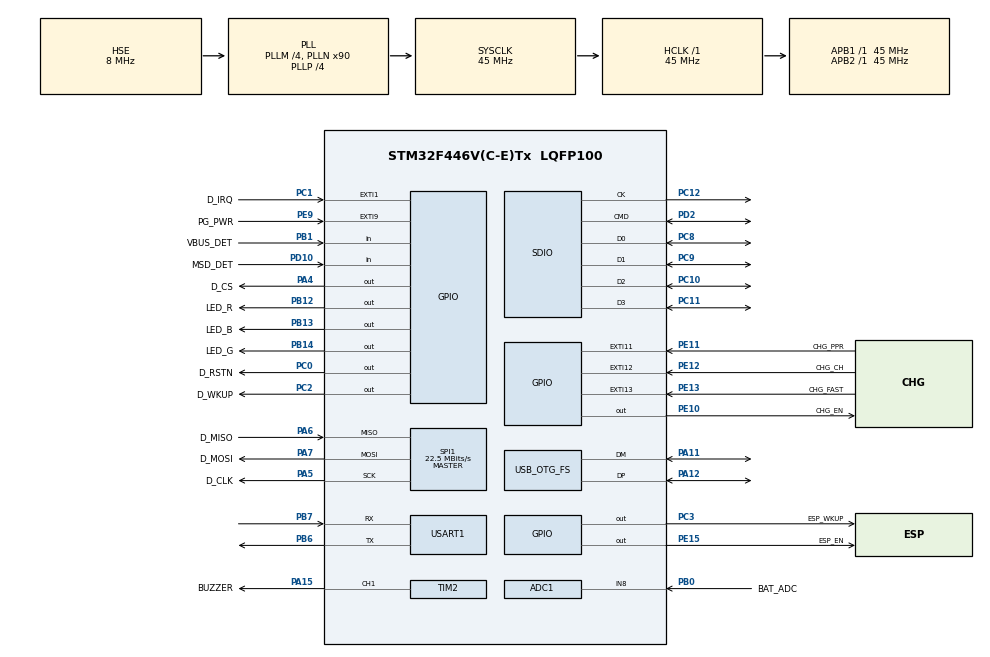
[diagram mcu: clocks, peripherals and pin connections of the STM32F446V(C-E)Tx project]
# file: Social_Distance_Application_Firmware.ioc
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ADC1.Channel-0\#ChannelRegularConversion=ADC_CHANNEL_8
ADC1.NbrOfConversionFlag=1
ADC1.Rank-0\#ChannelRegularConversion=1
ADC1.SamplingTime-0\#ChannelRegularConversion=ADC_SAMPLETIME_144CYCLES
ADC1.master=1
Dma.Request0=SDIO_RX
Dma.Request1=SDIO_TX
Dma.Request2=USART1_RX
Dma.SDIO_RX.0.Direction=DMA_PERIPH_TO_MEMORY
Dma.SDIO_RX.0.FIFOMode=DMA_FIFOMODE_ENABLE
Dma.SDIO_RX.0.FIFOThreshold=DMA_FIFO_THRESHOLD_FULL
Dma.SDIO_RX.0.Instance=DMA2_Stream3
Dma.SDIO_RX.0.MemBurst=DMA_MBURST_INC4
Dma.SDIO_RX.0.MemDataAlignment=DMA_MDATAALIGN_WORD
Dma.SDIO_RX.0.MemInc=DMA_MINC_ENABLE
Dma.SDIO_RX.0.Mode=DMA_PFCTRL
Dma.SDIO_RX.0.PeriphBurst=DMA_PBURST_INC4
Dma.SDIO_RX.0.PeriphDataAlignment=DMA_PDATAALIGN_WORD
Dma.SDIO_RX.0.PeriphInc=DMA_PINC_DISABLE
Dma.SDIO_RX.0.Priority=DMA_PRIORITY_LOW
Dma.SDIO_TX.1.Direction=DMA_MEMORY_TO_PERIPH
Dma.SDIO_TX.1.FIFOMode=DMA_FIFOMODE_ENABLE
Dma.SDIO_TX.1.FIFOThreshold=DMA_FIFO_THRESHOLD_FULL
Dma.SDIO_TX.1.Instance=DMA2_Stream6
Dma.SDIO_TX.1.MemBurst=DMA_MBURST_INC4
Dma.SDIO_TX.1.MemDataAlignment=DMA_MDATAALIGN_WORD
Dma.SDIO_TX.1.MemInc=DMA_MINC_ENABLE
Dma.SDIO_TX.1.Mode=DMA_PFCTRL
Dma.SDIO_TX.1.PeriphBurst=DMA_PBURST_INC4
Dma.SDIO_TX.1.PeriphDataAlignment=DMA_PDATAALIGN_WORD
Dma.SDIO_TX.1.PeriphInc=DMA_PINC_DISABLE
Dma.SDIO_TX.1.Priority=DMA_PRIORITY_LOW
Dma.USART1_RX.2.Direction=DMA_PERIPH_TO_MEMORY
Dma.USART1_RX.2.FIFOMode=DMA_FIFOMODE_DISABLE
Dma.USART1_RX.2.Instance=DMA2_Stream2
Dma.USART1_RX.2.MemDataAlignment=DMA_MDATAALIGN_BYTE
Dma.USART1_RX.2.MemInc=DMA_MINC_ENABLE
Dma.USART1_RX.2.Mode=DMA_CIRCULAR
Dma.USART1_RX.2.PeriphDataAlignment=DMA_PDATAALIGN_BYTE
Dma.USART1_RX.2.PeriphInc=DMA_PINC_DISABLE
Dma.USART1_RX.2.Priority=DMA_PRIORITY_LOW
FATFS.BSP.number=1
FATFS._FS_LOCK=6
FATFS._USE_CHMOD=1
FATFS0.BSP.STBoard=false
FATFS0.BSP.api=Unknown
FATFS0.BSP.i2caddr=0
FATFS0.BSP.instance=PD10
FATFS0.BSP.ip=GPIO
FATFS0.BSP.mode=Input
FATFS0.BSP.name=Detect_SDIO
FATFS0.BSP.solution=PD10
FREERTOS.INCLUDE_xEventGroupSetBitFromISR=1
FREERTOS.Tasks01=mainTask,32,640,MainTaskFunc,As weak,NULL,Dynamic,NULL,NULL
FREERTOS.configTIMER_TASK_PRIORITY=40
FREERTOS.configTOTAL_HEAP_SIZE=20480
Mcu.Family=STM32F4
Mcu.Name=STM32F446V(C-E)Tx
Mcu.Package=LQFP100
NVIC.DMA2_Stream2_IRQn=true\:5\:0\:false\:false\:true\:true\:false\:true
NVIC.DMA2_Stream3_IRQn=true\:5\:0\:false\:false\:true\:true\:false\:true
NVIC.DMA2_Stream6_IRQn=true\:5\:0\:false\:false\:true\:true\:false\:true
NVIC.EXTI15_10_IRQn=true\:5\:0\:false\:false\:true\:true\:true\:true
NVIC.EXTI1_IRQn=true\:5\:0\:false\:false\:true\:true\:true\:true
NVIC.EXTI9_5_IRQn=true\:5\:0\:false\:false\:true\:true\:true\:true
NVIC.OTG_FS_IRQn=true\:5\:0\:false\:false\:true\:true\:false\:true
NVIC.PVD_IRQn=true\:5\:0\:false\:false\:true\:true\:true\:true
NVIC.PriorityGroup=NVIC_PRIORITYGROUP_4
NVIC.SDIO_IRQn=true\:5\:0\:false\:false\:true\:true\:true\:true
NVIC.TIM7_IRQn=true\:0\:0\:false\:false\:true\:false\:false\:true
NVIC.TIM8_TRG_COM_TIM14_IRQn=true\:6\:0\:true\:false\:true\:true\:true\:true
NVIC.TimeBase=TIM7_IRQn
NVIC.TimeBaseIP=TIM7
NVIC.USART1_IRQn=true\:5\:0\:false\:false\:true\:true\:true\:true
PA0-WKUP.Mode=SYS_WakeUp0
PA0-WKUP.Signal=SYS_WKUP0
PA11.GPIO_Mode=GPIO_MODE_AF_PP
PA11.GPIO_PuPd=GPIO_NOPULL
PA11.GPIO_Speed=GPIO_SPEED_FREQ_MEDIUM
PA11.Mode=Device_Only
PA11.Signal=USB_OTG_FS_DM
PA12.GPIO_Mode=GPIO_MODE_AF_PP
PA12.GPIO_PuPd=GPIO_NOPULL
PA12.GPIO_Speed=GPIO_SPEED_FREQ_MEDIUM
PA12.Mode=Device_Only
PA12.Signal=USB_OTG_FS_DP
PA15.GPIO_Label=BUZZER
PA15.Signal=S_TIM2_CH1_ETR
PA4.GPIO_Label=D_CS
PA4.Signal=GPIO_Output
PA5.GPIO_Label=D_CLK
PA5.GPIO_Speed=GPIO_SPEED_FREQ_MEDIUM
PA5.Mode=Full_Duplex_Master
PA5.Signal=SPI1_SCK
PA6.GPIO_Label=D_MISO
PA6.GPIO_Speed=GPIO_SPEED_FREQ_MEDIUM
PA6.Mode=Full_Duplex_Master
PA6.Signal=SPI1_MISO
PA7.GPIO_Label=D_MOSI
PA7.GPIO_Speed=GPIO_SPEED_FREQ_MEDIUM
PA7.Mode=Full_Duplex_Master
PA7.Signal=SPI1_MOSI
PB0.GPIO_Label=BAT_ADC
PB0.Signal=ADCx_IN8
PB1.GPIO_Label=VBUS_DET
PB1.Signal=GPIO_Input
PB12.GPIO_Label=LED_R
PB12.PinState=GPIO_PIN_SET
PB12.Signal=GPIO_Output
PB13.GPIO_Label=LED_B
PB13.PinState=GPIO_PIN_SET
PB13.Signal=GPIO_Output
PB14.GPIO_Label=LED_G
PB14.PinState=GPIO_PIN_SET
PB14.Signal=GPIO_Output
PB6.GPIO_Speed=GPIO_SPEED_FREQ_MEDIUM
PB6.Mode=Asynchronous
PB6.Signal=USART1_TX
PB7.GPIO_Speed=GPIO_SPEED_FREQ_MEDIUM
PB7.Mode=Asynchronous
PB7.Signal=USART1_RX
PC0.GPIO_Label=D_RSTN
PC0.GPIO_Speed=GPIO_SPEED_FREQ_LOW
PC0.PinState=GPIO_PIN_SET
PC0.Signal=GPIO_Output
PC1.GPIO_Label=D_IRQ
PC1.GPIO_ModeDefaultEXTI=GPIO_MODE_IT_RISING
PC1.GPIO_PuPd=GPIO_PULLDOWN
PC1.Signal=GPXTI1
PC10.GPIO_Speed_High_Default=GPIO_SPEED_FREQ_MEDIUM
PC10.Mode=SD_4_bits_Wide_bus
PC10.Signal=SDIO_D2
PC11.GPIO_Speed_High_Default=GPIO_SPEED_FREQ_MEDIUM
PC11.Mode=SD_4_bits_Wide_bus
PC11.Signal=SDIO_D3
PC12.GPIO_Speed_High_Default=GPIO_SPEED_FREQ_MEDIUM
PC12.Mode=SD_4_bits_Wide_bus
PC12.Signal=SDIO_CK
PC14-OSC32_IN.Mode=LSE-External-Oscillator
PC14-OSC32_IN.Signal=RCC_OSC32_IN
PC15-OSC32_OUT.Mode=LSE-External-Oscillator
PC15-OSC32_OUT.Signal=RCC_OSC32_OUT
PC2.GPIO_Label=D_WKUP
PC2.Signal=GPIO_Output
PC3.GPIO_Label=ESP_WKUP
PC3.Signal=GPIO_Output
PC8.GPIO_Speed_High_Default=GPIO_SPEED_FREQ_MEDIUM
PC8.Mode=SD_4_bits_Wide_bus
PC8.Signal=SDIO_D0
PC9.GPIO_Speed_High_Default=GPIO_SPEED_FREQ_MEDIUM
PC9.Mode=SD_4_bits_Wide_bus
PC9.Signal=SDIO_D1
PD10.GPIO_Label=MSD_DET
PD10.Signal=GPIO_Input
PD2.GPIO_Speed_High_Default=GPIO_SPEED_FREQ_MEDIUM
PD2.Mode=SD_4_bits_Wide_bus
PD2.Signal=SDIO_CMD
PE10.GPIO_Label=CHG_EN
PE10.Signal=GPIO_Output
PE11.GPIO_Label=CHG_PPR
PE11.GPIO_ModeDefaultEXTI=GPIO_MODE_IT_FALLING
PE11.Signal=GPXTI11
PE12.GPIO_Label=CHG_CH
PE12.GPIO_ModeDefaultEXTI=GPIO_MODE_IT_RISING_FALLING
PE12.Signal=GPXTI12
PE13.GPIO_Label=CHG_FAST
PE13.GPIO_ModeDefaultEXTI=GPIO_MODE_IT_FALLING
PE13.Signal=GPXTI13
PE15.GPIO_Label=ESP_EN
PE15.PinState=GPIO_PIN_RESET
PE15.Signal=GPIO_Output
PE9.GPIO_Label=PG_PWR
PE9.GPIO_ModeDefaultEXTI=GPIO_MODE_IT_FALLING
PE9.Signal=GPXTI9
PH0-OSC_IN.Mode=HSE-External-Oscillator
PH0-OSC_IN.Signal=RCC_OSC_IN
PH1-OSC_OUT.Mode=HSE-External-Oscillator
PH1-OSC_OUT.Signal=RCC_OSC_OUT
ProjectManager.HeapSize=0x1000
ProjectManager.StackSize=0x1000
ProjectManager.TargetToolchain=STM32CubeIDE
RCC.AHBFreq_Value=45000000
RCC.APB1Freq_Value=45000000
RCC.APB1TimFreq_Value=45000000
RCC.APB2Freq_Value=45000000
RCC.APB2TimFreq_Value=45000000
RCC.CortexFreq_Value=45000000
RCC.HCLKFreq_Value=45000000
RCC.HSE_VALUE=8000000
RCC.PLLM=4
RCC.PLLN=90
RCC.PLLP=RCC_PLLP_DIV4
RCC.PLLQ=3
RCC.PLLSAIM=4
RCC.PLLSAIN=96
RCC.PLLSAIP=RCC_PLLSAIP_DIV4
RCC.PLLSourceVirtual=RCC_PLLSOURCE_HSE
RCC.RCC_RTC_Clock_SourceVirtual=RCC_RTCCLKSOURCE_LSE
RCC.SDIOCLockSelection=RCC_SDIOCLKSOURCE_SYSCLK
RCC.SYSCLKFreq_VALUE=45000000
RCC.SYSCLKSource=RCC_SYSCLKSOURCE_PLLCLK
RCC.USBCLockSelection=RCC_CLK48CLKSOURCE_PLLSAIP
RCC.USBFreq_Value=48000000
RCC.VCOOutputFreq_Value=180000000
RTC.Date=16
RTC.Hours=10
RTC.Month=RTC_MONTH_APRIL
RTC.WeekDay=RTC_WEEKDAY_FRIDAY
RTC.Year=21
SH.ADCx_IN8.0=ADC1_IN8,IN8
SH.S_TIM2_CH1_ETR.0=TIM2_CH1,PWM Generation1 CH1
SPI1.CalculateBaudRate=22.5 MBits/s
SPI1.Direction=SPI_DIRECTION_2LINES
SPI1.Mode=SPI_MODE_MASTER
SPI1.VirtualType=VM_MASTER
TIM14.AutoReloadPreload=TIM_AUTORELOAD_PRELOAD_ENABLE
TIM14.Period=100 - 1
TIM14.Prescaler=45000 - 1
TIM2.Channel-PWM\ Generation1\ CH1=TIM_CHANNEL_1
TIM2.Period=5625 - 1
TIM2.Prescaler=8
TIM2.Pulse-PWM\ Generation1\ CH1=2812 - 1
USART1.VirtualMode=VM_ASYNC
USB_DEVICE.CLASS_NAME_FS=CDC
USB_DEVICE.VirtualMode-CDC_FS=Cdc
USB_DEVICE.VirtualMode-DFU_FS=Dfu
USB_DEVICE.VirtualModeFS=Cdc_FS
USB_OTG_FS.VirtualMode=Device_Only
USB_OTG_FS.low_power_enable=DISABLE
VP_FATFS_VS_SDIO.Mode=SDIO
VP_FREERTOS_VS_CMSIS_V2.Mode=CMSIS_V2
VP_RTC_VS_RTC_Activate.Mode=RTC_Enabled
VP_RTC_VS_RTC_Calendar.Mode=RTC_Calendar
VP_SYS_VS_tim7.Mode=TIM7
VP_TIM14_VS_ClockSourceINT.Mode=Enable_Timer
VP_USB_DEVICE_VS_USB_DEVICE_CDC_FS.Mode=CDC_FS
board=custom

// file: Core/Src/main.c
/* USER CODE BEGIN Header */
/**
  ******************************************************************************
  * @file           : main.c
  * @brief          : Main program body
  ******************************************************************************
  * @attention
  *
  * <h2><center>&copy; Copyright (c) 2021 STMicroelectronics.
  * All rights reserved.</center></h2>
  *
  * This software component is licensed by ST under BSD 3-Clause license,
  * the "License"; You may not use this file except in compliance with the
  * License. You may obtain a copy of the License at:
  *                        opensource.org/licenses/BSD-3-Clause
  *
  ******************************************************************************
  */
/* USER CODE END Header */
#include "main.h"
#include "cmsis_os.h"
#include "fatfs.h"
#include "usb_device.h"

/* USER CODE BEGIN Includes */
#include "SEGGER_SYSVIEW.h"
#include "common.h"
#include "distance_task.h"
/* USER CODE END Includes */

ADC_HandleTypeDef hadc1;

RTC_HandleTypeDef hrtc;

SD_HandleTypeDef hsd;
DMA_HandleTypeDef hdma_sdio_rx;
DMA_HandleTypeDef hdma_sdio_tx;

SPI_HandleTypeDef hspi1;

TIM_HandleTypeDef htim2;
TIM_HandleTypeDef htim14;

UART_HandleTypeDef huart1;
DMA_HandleTypeDef hdma_usart1_rx;

/* Definitions for mainTask */
osThreadId_t mainTaskHandle;
const osThreadAttr_t mainTask_attributes = {
  .name = "mainTask",
  .stack_size = 640 * 4,
  .priority = (osPriority_t) osPriorityAboveNormal,
};

void SystemClock_Config(void);
static void MX_GPIO_Init(void);
static void MX_DMA_Init(void);
static void MX_RTC_Init(void);
static void MX_SDIO_SD_Init(void);
static void MX_TIM2_Init(void);
static void MX_SPI1_Init(void);
static void MX_USART1_UART_Init(void);
static void MX_ADC1_Init(void);
static void MX_TIM14_Init(void);
void MainTaskFunc(void *argument);

int main(void)
{

  /* MCU Configuration--------------------------------------------------------*/

  /* Reset of all peripherals, Initializes the Flash interface and the Systick. */
  HAL_Init();

  /* Configure the system clock */
  SystemClock_Config();

  /* USER CODE BEGIN SysInit */
  // configure and initialize SystemView
  SEGGER_SYSVIEW_Conf();
  /* USER CODE END SysInit */

  /* Initialize all configured peripherals */
  PVD_Config();
  MX_GPIO_Init();
  MX_DMA_Init();
  MX_RTC_Init();
  MX_SDIO_SD_Init();
  MX_FATFS_Init();
  MX_TIM2_Init();
  MX_SPI1_Init();
  MX_USART1_UART_Init();
  MX_ADC1_Init();
  MX_TIM14_Init();
  /* USER CODE BEGIN 2 */

  // disable ESP32 module first when MCU is initializing
  HAL_GPIO_WritePin(ESP_EN_GPIO_Port, ESP_EN_Pin, GPIO_PIN_SET);

  // to prevent abnormal behavior when under low voltage
  while(1)
  {
    StartBatteryVoltAdcConversion();
    if (GetBatteryLevelInVolt() >= BATTERY_LOW_VOLT)
    {
      break;
    }
    else
    {
    	HAL_GPIO_WritePin(GPIOB, GPIO_PIN_12, 0);
    	HAL_Delay(10000);
    	HAL_NVIC_SystemReset();

    }

    HAL_Delay(500);
  }
  /* USER CODE END 2 */

  /* Init scheduler */
  osKernelInitialize();

  /* Create the thread(s) */
  /* creation of mainTask */
  mainTaskHandle = osThreadNew(MainTaskFunc, NULL, &mainTask_attributes);

  /* Start scheduler */
  osKernelStart();

  /* We should never get here as control is now taken by the scheduler */
  /* Infinite loop */
  while (1)
  {

  }
}

void PVD_Config()
{
	__HAL_RCC_PWR_CLK_ENABLE();

	HAL_NVIC_SetPriority(PVD_IRQn, 0, 0);
	HAL_NVIC_EnableIRQ(PVD_IRQn);

	PWR_PVDTypeDef sConfigPVD;
	sConfigPVD.PVDLevel  = PWR_PVDLEVEL_7;
	sConfigPVD.Mode = PWR_PVD_MODE_NORMAL;
	HAL_PWR_ConfigPVD(&sConfigPVD);

	HAL_PWR_EnablePVD();
}

void SystemClock_Config(void)
{
  RCC_OscInitTypeDef RCC_OscInitStruct = {0};
  RCC_ClkInitTypeDef RCC_ClkInitStruct = {0};
  RCC_PeriphCLKInitTypeDef PeriphClkInitStruct = {0};

  /** Configure the main internal regulator output voltage
  */
  __HAL_RCC_PWR_CLK_ENABLE();
  __HAL_PWR_VOLTAGESCALING_CONFIG(PWR_REGULATOR_VOLTAGE_SCALE3);
  /** Initializes the RCC Oscillators according to the specified parameters
  * in the RCC_OscInitTypeDef structure.
  */
  RCC_OscInitStruct.OscillatorType = RCC_OSCILLATORTYPE_HSE|RCC_OSCILLATORTYPE_LSE;
  RCC_OscInitStruct.HSEState = RCC_HSE_ON;
  RCC_OscInitStruct.LSEState = RCC_LSE_ON;
  RCC_OscInitStruct.PLL.PLLState = RCC_PLL_ON;
  RCC_OscInitStruct.PLL.PLLSource = RCC_PLLSOURCE_HSE;
  RCC_OscInitStruct.PLL.PLLM = 4;
  RCC_OscInitStruct.PLL.PLLN = 90;
  RCC_OscInitStruct.PLL.PLLP = RCC_PLLP_DIV4;
  RCC_OscInitStruct.PLL.PLLQ = 3;
  RCC_OscInitStruct.PLL.PLLR = 2;
  if (HAL_RCC_OscConfig(&RCC_OscInitStruct) != HAL_OK)
  {
    Error_Handler();
  }
  /** Initializes the CPU, AHB and APB buses clocks
  */
  RCC_ClkInitStruct.ClockType = RCC_CLOCKTYPE_HCLK|RCC_CLOCKTYPE_SYSCLK
                              |RCC_CLOCKTYPE_PCLK1|RCC_CLOCKTYPE_PCLK2;
  RCC_ClkInitStruct.SYSCLKSource = RCC_SYSCLKSOURCE_PLLCLK;
  RCC_ClkInitStruct.AHBCLKDivider = RCC_SYSCLK_DIV1;
  RCC_ClkInitStruct.APB1CLKDivider = RCC_HCLK_DIV1;
  RCC_ClkInitStruct.APB2CLKDivider = RCC_HCLK_DIV1;

  if (HAL_RCC_ClockConfig(&RCC_ClkInitStruct, FLASH_LATENCY_1) != HAL_OK)
  {
    Error_Handler();
  }
  PeriphClkInitStruct.PeriphClockSelection = RCC_PERIPHCLK_RTC|RCC_PERIPHCLK_SDIO
                              |RCC_PERIPHCLK_CLK48;
  PeriphClkInitStruct.PLLSAI.PLLSAIM = 4;
  PeriphClkInitStruct.PLLSAI.PLLSAIN = 96;
  PeriphClkInitStruct.PLLSAI.PLLSAIQ = 2;
  PeriphClkInitStruct.PLLSAI.PLLSAIP = RCC_PLLSAIP_DIV4;
  PeriphClkInitStruct.PLLSAIDivQ = 1;
  PeriphClkInitStruct.RTCClockSelection = RCC_RTCCLKSOURCE_LSE;
  PeriphClkInitStruct.Clk48ClockSelection = RCC_CLK48CLKSOURCE_PLLSAIP;
  PeriphClkInitStruct.SdioClockSelection = RCC_SDIOCLKSOURCE_SYSCLK;
  if (HAL_RCCEx_PeriphCLKConfig(&PeriphClkInitStruct) != HAL_OK)
  {
    Error_Handler();
  }
}

static void MX_ADC1_Init(void)
{

  ADC_ChannelConfTypeDef sConfig = {0};

  /** Configure the global features of the ADC (Clock, Resolution, Data Alignment and number of conversion)
  */
  hadc1.Instance = ADC1;
  hadc1.Init.ClockPrescaler = ADC_CLOCK_SYNC_PCLK_DIV2;
  hadc1.Init.Resolution = ADC_RESOLUTION_12B;
  hadc1.Init.ScanConvMode = DISABLE;
  hadc1.Init.ContinuousConvMode = DISABLE;
  hadc1.Init.DiscontinuousConvMode = DISABLE;
  hadc1.Init.ExternalTrigConvEdge = ADC_EXTERNALTRIGCONVEDGE_NONE;
  hadc1.Init.ExternalTrigConv = ADC_SOFTWARE_START;
  hadc1.Init.DataAlign = ADC_DATAALIGN_RIGHT;
  hadc1.Init.NbrOfConversion = 1;
  hadc1.Init.DMAContinuousRequests = DISABLE;
  hadc1.Init.EOCSelection = ADC_EOC_SINGLE_CONV;
  if (HAL_ADC_Init(&hadc1) != HAL_OK)
  {
    Error_Handler();
  }
  /** Configure for the selected ADC regular channel its corresponding rank in the sequencer and its sample time.
  */
  sConfig.Channel = ADC_CHANNEL_8;
  sConfig.Rank = 1;
  sConfig.SamplingTime = ADC_SAMPLETIME_144CYCLES;
  if (HAL_ADC_ConfigChannel(&hadc1, &sConfig) != HAL_OK)
  {
    Error_Handler();
  }

}

static void MX_RTC_Init(void)
{

  RTC_TimeTypeDef sTime = {0};
  RTC_DateTypeDef sDate = {0};

  /** Initialize RTC Only
  */
  hrtc.Instance = RTC;
  hrtc.Init.HourFormat = RTC_HOURFORMAT_24;
  hrtc.Init.AsynchPrediv = 127;
  hrtc.Init.SynchPrediv = 255;
  hrtc.Init.OutPut = RTC_OUTPUT_DISABLE;
  hrtc.Init.OutPutPolarity = RTC_OUTPUT_POLARITY_HIGH;
  hrtc.Init.OutPutType = RTC_OUTPUT_TYPE_OPENDRAIN;
  if (HAL_RTC_Init(&hrtc) != HAL_OK)
  {
    Error_Handler();
  }

  /* USER CODE BEGIN Check_RTC_BKUP */

  // check whether time initialize before not
  if(HAL_RTCEx_BKUPRead(&hrtc, RTC_BKP_DR1) == 0x32F2)
    return;

  /* USER CODE END Check_RTC_BKUP */

  /** Initialize RTC and set the Time and Date
  */
  sTime.Hours = 0x10;
  sTime.Minutes = 0x0;
  sTime.Seconds = 0x0;
  sTime.DayLightSaving = RTC_DAYLIGHTSAVING_NONE;
  sTime.StoreOperation = RTC_STOREOPERATION_RESET;
  if (HAL_RTC_SetTime(&hrtc, &sTime, RTC_FORMAT_BCD) != HAL_OK)
  {
    Error_Handler();
  }
  sDate.WeekDay = RTC_WEEKDAY_FRIDAY;
  sDate.Month = RTC_MONTH_APRIL;
  sDate.Date = 0x16;
  sDate.Year = 0x21;

  if (HAL_RTC_SetDate(&hrtc, &sDate, RTC_FORMAT_BCD) != HAL_OK)
  {
    Error_Handler();
  }
  /* USER CODE BEGIN RTC_Init 2 */

  // store the key after time & Date initialized
  HAL_RTCEx_BKUPWrite(&hrtc,RTC_BKP_DR1,0x32F2);

  /* USER CODE END RTC_Init 2 */

}

static void MX_SDIO_SD_Init(void)
{

  hsd.Instance = SDIO;
  hsd.Init.ClockEdge = SDIO_CLOCK_EDGE_RISING;
  hsd.Init.ClockBypass = SDIO_CLOCK_BYPASS_DISABLE;
  hsd.Init.ClockPowerSave = SDIO_CLOCK_POWER_SAVE_DISABLE;
  hsd.Init.BusWide = SDIO_BUS_WIDE_1B;
  hsd.Init.HardwareFlowControl = SDIO_HARDWARE_FLOW_CONTROL_DISABLE;
  hsd.Init.ClockDiv = 0;

}

static void MX_SPI1_Init(void)
{

  /* SPI1 parameter configuration*/
  hspi1.Instance = SPI1;
  hspi1.Init.Mode = SPI_MODE_MASTER;
  hspi1.Init.Direction = SPI_DIRECTION_2LINES;
  hspi1.Init.DataSize = SPI_DATASIZE_8BIT;
  hspi1.Init.CLKPolarity = SPI_POLARITY_LOW;
  hspi1.Init.CLKPhase = SPI_PHASE_1EDGE;
  hspi1.Init.NSS = SPI_NSS_SOFT;
  hspi1.Init.BaudRatePrescaler = SPI_BAUDRATEPRESCALER_2;
  hspi1.Init.FirstBit = SPI_FIRSTBIT_MSB;
  hspi1.Init.TIMode = SPI_TIMODE_DISABLE;
  hspi1.Init.CRCCalculation = SPI_CRCCALCULATION_DISABLE;
  hspi1.Init.CRCPolynomial = 10;
  if (HAL_SPI_Init(&hspi1) != HAL_OK)
  {
    Error_Handler();
  }

}

static void MX_TIM2_Init(void)
{

  TIM_MasterConfigTypeDef sMasterConfig = {0};
  TIM_OC_InitTypeDef sConfigOC = {0};

  htim2.Instance = TIM2;
  htim2.Init.Prescaler = 8;
  htim2.Init.CounterMode = TIM_COUNTERMODE_UP;
  htim2.Init.Period = 5625 - 1;
  htim2.Init.ClockDivision = TIM_CLOCKDIVISION_DIV1;
  htim2.Init.AutoReloadPreload = TIM_AUTORELOAD_PRELOAD_DISABLE;
  if (HAL_TIM_PWM_Init(&htim2) != HAL_OK)
  {
    Error_Handler();
  }
  sMasterConfig.MasterOutputTrigger = TIM_TRGO_RESET;
  sMasterConfig.MasterSlaveMode = TIM_MASTERSLAVEMODE_DISABLE;
  if (HAL_TIMEx_MasterConfigSynchronization(&htim2, &sMasterConfig) != HAL_OK)
  {
    Error_Handler();
  }
  sConfigOC.OCMode = TIM_OCMODE_PWM1;
  sConfigOC.Pulse = 2812 - 1;
  sConfigOC.OCPolarity = TIM_OCPOLARITY_HIGH;
  sConfigOC.OCFastMode = TIM_OCFAST_DISABLE;
  if (HAL_TIM_PWM_ConfigChannel(&htim2, &sConfigOC, TIM_CHANNEL_1) != HAL_OK)
  {
    Error_Handler();
  }
  HAL_TIM_MspPostInit(&htim2);

}

static void MX_TIM14_Init(void)
{

  htim14.Instance = TIM14;
  htim14.Init.Prescaler = 45000 - 1;
  htim14.Init.CounterMode = TIM_COUNTERMODE_UP;
  htim14.Init.Period = 100 - 1;
  htim14.Init.ClockDivision = TIM_CLOCKDIVISION_DIV1;
  htim14.Init.AutoReloadPreload = TIM_AUTORELOAD_PRELOAD_ENABLE;
  if (HAL_TIM_Base_Init(&htim14) != HAL_OK)
  {
    Error_Handler();
  }

}

static void MX_USART1_UART_Init(void)
{

  huart1.Instance = USART1;
  huart1.Init.BaudRate = 115200;
  huart1.Init.WordLength = UART_WORDLENGTH_8B;
  huart1.Init.StopBits = UART_STOPBITS_1;
  huart1.Init.Parity = UART_PARITY_NONE;
  huart1.Init.Mode = UART_MODE_TX_RX;
  huart1.Init.HwFlowCtl = UART_HWCONTROL_NONE;
  huart1.Init.OverSampling = UART_OVERSAMPLING_16;
  if (HAL_UART_Init(&huart1) != HAL_OK)
  {
    Error_Handler();
  }

}

static void MX_DMA_Init(void)
{

  /* DMA controller clock enable */
  __HAL_RCC_DMA2_CLK_ENABLE();

  /* DMA interrupt init */
  /* DMA2_Stream2_IRQn interrupt configuration */
  HAL_NVIC_SetPriority(DMA2_Stream2_IRQn, 5, 0);
  HAL_NVIC_EnableIRQ(DMA2_Stream2_IRQn);
  /* DMA2_Stream3_IRQn interrupt configuration */
  HAL_NVIC_SetPriority(DMA2_Stream3_IRQn, 5, 0);
  HAL_NVIC_EnableIRQ(DMA2_Stream3_IRQn);
  /* DMA2_Stream6_IRQn interrupt configuration */
  HAL_NVIC_SetPriority(DMA2_Stream6_IRQn, 5, 0);
  HAL_NVIC_EnableIRQ(DMA2_Stream6_IRQn);

}

static void MX_GPIO_Init(void)
{
  GPIO_InitTypeDef GPIO_InitStruct = {0};

  /* GPIO Ports Clock Enable */
  __HAL_RCC_GPIOC_CLK_ENABLE();
  __HAL_RCC_GPIOH_CLK_ENABLE();
  __HAL_RCC_GPIOA_CLK_ENABLE();
  __HAL_RCC_GPIOB_CLK_ENABLE();
  __HAL_RCC_GPIOE_CLK_ENABLE();
  __HAL_RCC_GPIOD_CLK_ENABLE();

  /*Configure GPIO pin Output Level */
  HAL_GPIO_WritePin(D_RSTN_GPIO_Port, D_RSTN_Pin, GPIO_PIN_SET);

  /*Configure GPIO pin Output Level */
  HAL_GPIO_WritePin(GPIOC, D_WKUP_Pin|ESP_WKUP_Pin, GPIO_PIN_RESET);

  /*Configure GPIO pin Output Level */
  HAL_GPIO_WritePin(D_CS_GPIO_Port, D_CS_Pin, GPIO_PIN_RESET);

  /*Configure GPIO pin Output Level */
  HAL_GPIO_WritePin(GPIOE, ESP_EN_Pin, GPIO_PIN_RESET);

  /*Configure GPIO pin Output Level */
  HAL_GPIO_WritePin(GPIOB, LED_R_Pin|LED_B_Pin|LED_G_Pin, GPIO_PIN_SET);

  /*Configure GPIO pins : D_RSTN_Pin D_WKUP_Pin ESP_WKUP_Pin */
  GPIO_InitStruct.Pin = D_RSTN_Pin|D_WKUP_Pin|ESP_WKUP_Pin;
  GPIO_InitStruct.Mode = GPIO_MODE_OUTPUT_PP;
  GPIO_InitStruct.Pull = GPIO_NOPULL;
  GPIO_InitStruct.Speed = GPIO_SPEED_FREQ_LOW;
  HAL_GPIO_Init(GPIOC, &GPIO_InitStruct);

  /*Configure GPIO pin : D_IRQ_Pin */
  GPIO_InitStruct.Pin = D_IRQ_Pin;
  GPIO_InitStruct.Mode = GPIO_MODE_IT_RISING;
  GPIO_InitStruct.Pull = GPIO_PULLDOWN;
  HAL_GPIO_Init(D_IRQ_GPIO_Port, &GPIO_InitStruct);

  /*Configure GPIO pin : D_CS_Pin */
  GPIO_InitStruct.Pin = D_CS_Pin;
  GPIO_InitStruct.Mode = GPIO_MODE_OUTPUT_PP;
  GPIO_InitStruct.Pull = GPIO_NOPULL;
  GPIO_InitStruct.Speed = GPIO_SPEED_FREQ_LOW;
  HAL_GPIO_Init(D_CS_GPIO_Port, &GPIO_InitStruct);

  /*Configure GPIO pin : VBUS_DET_Pin */
  GPIO_InitStruct.Pin = VBUS_DET_Pin;
  GPIO_InitStruct.Mode = GPIO_MODE_INPUT;
  GPIO_InitStruct.Pull = GPIO_NOPULL;
  HAL_GPIO_Init(VBUS_DET_GPIO_Port, &GPIO_InitStruct);

  /*Configure GPIO pins : PG_PWR_Pin CHG_PPR_Pin CHG_FAST_Pin */
  GPIO_InitStruct.Pin = PG_PWR_Pin|CHG_PPR_Pin|CHG_FAST_Pin;
  GPIO_InitStruct.Mode = GPIO_MODE_IT_FALLING;
  GPIO_InitStruct.Pull = GPIO_NOPULL;
  HAL_GPIO_Init(GPIOE, &GPIO_InitStruct);

  /*Configure GPIO pins : CHG_EN_Pin ESP_EN_Pin */
  GPIO_InitStruct.Pin =  ESP_EN_Pin;
  GPIO_InitStruct.Mode = GPIO_MODE_OUTPUT_PP;
  GPIO_InitStruct.Pull = GPIO_NOPULL;
  GPIO_InitStruct.Speed = GPIO_SPEED_FREQ_LOW;
  HAL_GPIO_Init(GPIOE, &GPIO_InitStruct);

  /*Configure GPIO pin : CHG_CH_Pin */
  GPIO_InitStruct.Pin = CHG_CH_Pin;
  GPIO_InitStruct.Mode = GPIO_MODE_IT_RISING_FALLING;
  GPIO_InitStruct.Pull = GPIO_NOPULL;
  HAL_GPIO_Init(CHG_CH_GPIO_Port, &GPIO_InitStruct);

  /*Configure GPIO pins : LED_R_Pin LED_B_Pin LED_G_Pin */
  GPIO_InitStruct.Pin = LED_R_Pin|LED_B_Pin|LED_G_Pin;
  GPIO_InitStruct.Mode = GPIO_MODE_OUTPUT_PP;
  GPIO_InitStruct.Pull = GPIO_NOPULL;
  GPIO_InitStruct.Speed = GPIO_SPEED_FREQ_LOW;
  HAL_GPIO_Init(GPIOB, &GPIO_InitStruct);

  /*Configure GPIO pin : MSD_DET_Pin */
  GPIO_InitStruct.Pin = MSD_DET_Pin;
  GPIO_InitStruct.Mode = GPIO_MODE_INPUT;
  GPIO_InitStruct.Pull = GPIO_NOPULL;
  HAL_GPIO_Init(MSD_DET_GPIO_Port, &GPIO_InitStruct);

  /* EXTI interrupt init*/
  HAL_NVIC_SetPriority(EXTI1_IRQn, 5, 0);
  HAL_NVIC_EnableIRQ(EXTI1_IRQn);

  HAL_NVIC_SetPriority(EXTI9_5_IRQn, 5, 0);
  HAL_NVIC_EnableIRQ(EXTI9_5_IRQn);

  HAL_NVIC_SetPriority(EXTI15_10_IRQn, 5, 0);
  HAL_NVIC_EnableIRQ(EXTI15_10_IRQn);

}

__weak void MainTaskFunc(void *argument)
{
  /* init code for USB_DEVICE */
  MX_USB_DEVICE_Init();
  for(;;)
  {
    osDelay(1);
  }
}

 /**
  * @brief  Period elapsed callback in non blocking mode
  * @note   This function is called  when TIM7 interrupt took place, inside
  * HAL_TIM_IRQHandler(). It makes a direct call to HAL_IncTick() to increment
  * a global variable "uwTick" used as application time base.
  * @param  htim : TIM handle
  * @retval None
  */
void HAL_TIM_PeriodElapsedCallback(TIM_HandleTypeDef *htim)
{
  if (htim->Instance == TIM7) {
    HAL_IncTick();
  }
  /* USER CODE BEGIN Callback 1 */

  if (htim->Instance == TIM14) {
    distance_TimerCallbackHandler();
  }
  /* USER CODE END Callback 1 */
}

void Error_Handler(void)
{
  __disable_irq();
  while (1)
  {
  }
}

/************************ (C) COPYRIGHT STMicroelectronics *****END OF FILE****/
